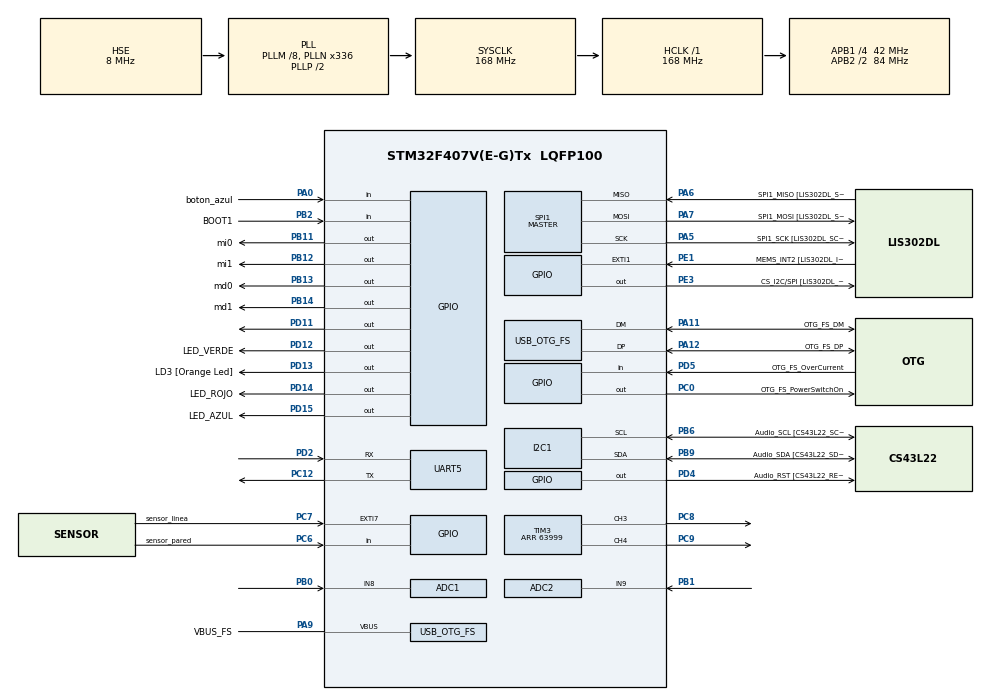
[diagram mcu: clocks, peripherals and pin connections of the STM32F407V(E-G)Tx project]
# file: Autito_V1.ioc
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ADC1.Channel-1\#ChannelRegularConversion=ADC_CHANNEL_8
ADC1.ClockPrescaler=ADC_CLOCK_SYNC_PCLK_DIV8
ADC1.ContinuousConvMode=ENABLE
ADC1.DMAContinuousRequests=ENABLE
ADC1.EOCSelection=ADC_EOC_SEQ_CONV
ADC1.NbrOfConversionFlag=1
ADC1.Rank-1\#ChannelRegularConversion=1
ADC1.SamplingTime-1\#ChannelRegularConversion=ADC_SAMPLETIME_56CYCLES
ADC1.ScanConvMode=ENABLE
ADC1.master=1
ADC2.Channel-1\#ChannelRegularConversion=ADC_CHANNEL_9
ADC2.ClockPrescaler=ADC_CLOCK_SYNC_PCLK_DIV8
ADC2.ContinuousConvMode=ENABLE
ADC2.DMAContinuousRequests=ENABLE
ADC2.EOCSelection=ADC_EOC_SEQ_CONV
ADC2.NbrOfConversionFlag=1
ADC2.Rank-1\#ChannelRegularConversion=1
ADC2.SamplingTime-1\#ChannelRegularConversion=ADC_SAMPLETIME_56CYCLES
ADC2.ScanConvMode=ENABLE
Dma.ADC1.0.Direction=DMA_PERIPH_TO_MEMORY
Dma.ADC1.0.FIFOMode=DMA_FIFOMODE_DISABLE
Dma.ADC1.0.Instance=DMA2_Stream0
Dma.ADC1.0.MemDataAlignment=DMA_MDATAALIGN_HALFWORD
Dma.ADC1.0.MemInc=DMA_MINC_ENABLE
Dma.ADC1.0.Mode=DMA_CIRCULAR
Dma.ADC1.0.PeriphDataAlignment=DMA_PDATAALIGN_HALFWORD
Dma.ADC1.0.PeriphInc=DMA_PINC_DISABLE
Dma.ADC1.0.Priority=DMA_PRIORITY_LOW
Dma.ADC2.1.Direction=DMA_PERIPH_TO_MEMORY
Dma.ADC2.1.FIFOMode=DMA_FIFOMODE_DISABLE
Dma.ADC2.1.Instance=DMA2_Stream2
Dma.ADC2.1.MemDataAlignment=DMA_MDATAALIGN_HALFWORD
Dma.ADC2.1.MemInc=DMA_MINC_ENABLE
Dma.ADC2.1.Mode=DMA_CIRCULAR
Dma.ADC2.1.PeriphDataAlignment=DMA_PDATAALIGN_HALFWORD
Dma.ADC2.1.PeriphInc=DMA_PINC_DISABLE
Dma.ADC2.1.Priority=DMA_PRIORITY_LOW
Dma.Request0=ADC1
Dma.Request1=ADC2
Mcu.Family=STM32F4
Mcu.Name=STM32F407V(E-G)Tx
Mcu.Package=LQFP100
NVIC.DMA2_Stream0_IRQn=true\:0\:0\:false\:false\:true\:false\:true\:true
NVIC.DMA2_Stream2_IRQn=true\:0\:0\:false\:false\:true\:false\:true\:true
NVIC.EXTI9_5_IRQn=true\:0\:0\:false\:false\:true\:true\:true\:true
NVIC.OTG_FS_IRQn=true\:0\:0\:false\:false\:true\:true\:true\:true
NVIC.PriorityGroup=NVIC_PRIORITYGROUP_0
NVIC.UART5_IRQn=true\:0\:0\:false\:false\:true\:true\:true\:true
PA0-WKUP.GPIO_Label=boton_azul
PA0-WKUP.Signal=GPIO_Input
PA10.GPIO_Label=OTG_FS_ID
PA10.GPIO_Mode=GPIO_MODE_AF_PP
PA10.GPIO_PuPd=GPIO_NOPULL
PA10.GPIO_Speed=GPIO_SPEED_FREQ_LOW
PA10.Signal=USB_OTG_FS_ID
PA11.GPIO_Label=OTG_FS_DM
PA11.GPIO_Mode=GPIO_MODE_AF_PP
PA11.GPIO_PuPd=GPIO_NOPULL
PA11.GPIO_Speed=GPIO_SPEED_FREQ_LOW
PA11.Mode=Host_Only
PA11.Signal=USB_OTG_FS_DM
PA12.GPIO_Label=OTG_FS_DP
PA12.GPIO_Mode=GPIO_MODE_AF_PP
PA12.GPIO_PuPd=GPIO_NOPULL
PA12.GPIO_Speed=GPIO_SPEED_FREQ_LOW
PA12.Mode=Host_Only
PA12.Signal=USB_OTG_FS_DP
PA13.GPIO_Label=SWDIO
PA13.Mode=Serial_Wire
PA13.Signal=SYS_JTMS-SWDIO
PA14.GPIO_Label=SWCLK
PA14.Mode=Serial_Wire
PA14.Signal=SYS_JTCK-SWCLK
PA4.GPIO_Label=I2S3_WS [CS43L22_LRCK]
PA4.GPIO_Mode=GPIO_MODE_AF_PP
PA4.GPIO_PuPd=GPIO_NOPULL
PA4.GPIO_Speed=GPIO_SPEED_FREQ_LOW
PA4.Signal=I2S3_WS
PA5.GPIO_Label=SPI1_SCK [LIS302DL_SCL/SPC]
PA5.GPIO_Mode=GPIO_MODE_AF_PP
PA5.GPIO_PuPd=GPIO_NOPULL
PA5.GPIO_Speed=GPIO_SPEED_FREQ_LOW
PA5.Mode=Full_Duplex_Master
PA5.Signal=SPI1_SCK
PA6.GPIO_Label=SPI1_MISO [LIS302DL_SDO]
PA6.GPIO_Mode=GPIO_MODE_AF_PP
PA6.GPIO_PuPd=GPIO_NOPULL
PA6.GPIO_Speed=GPIO_SPEED_FREQ_LOW
PA6.Mode=Full_Duplex_Master
PA6.Signal=SPI1_MISO
PA7.GPIO_Label=SPI1_MOSI [LIS302DL_SDA/SDI/SDO]
PA7.GPIO_Mode=GPIO_MODE_AF_PP
PA7.GPIO_PuPd=GPIO_NOPULL
PA7.GPIO_Speed=GPIO_SPEED_FREQ_LOW
PA7.Mode=Full_Duplex_Master
PA7.Signal=SPI1_MOSI
PA9.GPIO_Label=VBUS_FS
PA9.GPIO_Mode=GPIO_MODE_INPUT
PA9.GPIO_PuPd=GPIO_NOPULL
PA9.Mode=Activate_VBUS
PA9.Signal=USB_OTG_FS_VBUS
PB0.Signal=ADCx_IN8
PB1.Signal=ADCx_IN9
PB10.GPIO_Label=CLK_IN [MP45DT02_CLK]
PB10.GPIO_Mode=GPIO_MODE_AF_PP
PB10.GPIO_PuPd=GPIO_NOPULL
PB10.GPIO_Speed=GPIO_SPEED_FREQ_LOW
PB10.Signal=I2S2_CK
PB11.GPIO_Label=mi0
PB11.Signal=GPIO_Output
PB12.GPIO_Label=mi1
PB12.Signal=GPIO_Output
PB13.GPIO_Label=md0
PB13.Signal=GPIO_Output
PB14.GPIO_Label=md1
PB14.Signal=GPIO_Output
PB2.GPIO_Label=BOOT1
PB2.GPIO_Mode=GPIO_MODE_INPUT
PB2.GPIO_PuPd=GPIO_NOPULL
PB2.Signal=GPIO_Input
PB3.GPIO_Label=SWO
PB3.Signal=SYS_JTDO-SWO
PB6.GPIO_Label=Audio_SCL [CS43L22_SCL]
PB6.GPIO_Mode=GPIO_MODE_AF_OD
PB6.GPIO_Pu=GPIO_PULLUP
PB6.GPIO_PuPd=GPIO_NOPULL
PB6.GPIO_Speed=GPIO_SPEED_FREQ_LOW
PB6.Mode=I2C
PB6.Signal=I2C1_SCL
PB9.GPIO_Label=Audio_SDA [CS43L22_SDA]
PB9.GPIO_Mode=GPIO_MODE_AF_OD
PB9.GPIO_Pu=GPIO_PULLUP
PB9.GPIO_PuPd=GPIO_NOPULL
PB9.GPIO_Speed=GPIO_SPEED_FREQ_LOW
PB9.Mode=I2C
PB9.Signal=I2C1_SDA
PC0.GPIO_Label=OTG_FS_PowerSwitchOn
PC0.GPIO_PuPd=GPIO_NOPULL
PC0.GPIO_Speed=GPIO_SPEED_FREQ_LOW
PC0.PinState=GPIO_PIN_SET
PC0.Signal=GPIO_Output
PC10.GPIO_Label=I2S3_SCK [CS43L22_SCLK]
PC10.GPIO_Mode=GPIO_MODE_AF_PP
PC10.GPIO_PuPd=GPIO_NOPULL
PC10.GPIO_Speed=GPIO_SPEED_FREQ_LOW
PC10.Signal=I2S3_CK
PC12.Mode=Asynchronous
PC12.Signal=UART5_TX
PC14-OSC32_IN.GPIO_Label=PC14-OSC32_IN
PC14-OSC32_IN.Mode=LSE-External-Oscillator
PC14-OSC32_IN.Signal=RCC_OSC32_IN
PC15-OSC32_OUT.GPIO_Label=PC15-OSC32_OUT
PC15-OSC32_OUT.Mode=LSE-External-Oscillator
PC15-OSC32_OUT.Signal=RCC_OSC32_OUT
PC3.GPIO_Label=PDM_OUT [MP45DT02_DOUT]
PC3.GPIO_Mode=GPIO_MODE_AF_PP
PC3.GPIO_PuPd=GPIO_NOPULL
PC3.GPIO_Speed=GPIO_SPEED_FREQ_LOW
PC3.Signal=I2S2_SD
PC6.GPIO_Label=sensor_pared
PC6.Signal=GPIO_Input
PC7.GPIO_Label=sensor_linea
PC7.GPIO_ModeDefaultEXTI=GPIO_MODE_IT_FALLING
PC7.Signal=GPXTI7
PC8.Signal=S_TIM3_CH3
PC9.Signal=S_TIM3_CH4
PD11.Signal=GPIO_Output
PD12.GPIO_Label=LED_VERDE
PD12.GPIO_PuPd=GPIO_NOPULL
PD12.GPIO_Speed=GPIO_SPEED_FREQ_LOW
PD12.Signal=GPIO_Output
PD13.GPIO_Label=LD3 [Orange Led]
PD13.GPIO_PuPd=GPIO_NOPULL
PD13.GPIO_Speed=GPIO_SPEED_FREQ_LOW
PD13.Signal=GPIO_Output
PD14.GPIO_Label=LED_ROJO
PD14.GPIO_PuPd=GPIO_NOPULL
PD14.GPIO_Speed=GPIO_SPEED_FREQ_LOW
PD14.Signal=GPIO_Output
PD15.GPIO_Label=LED_AZUL
PD15.GPIO_PuPd=GPIO_NOPULL
PD15.GPIO_Speed=GPIO_SPEED_FREQ_LOW
PD15.Signal=GPIO_Output
PD2.Mode=Asynchronous
PD2.Signal=UART5_RX
PD4.GPIO_Label=Audio_RST [CS43L22_RESET]
PD4.GPIO_PuPd=GPIO_NOPULL
PD4.GPIO_Speed=GPIO_SPEED_FREQ_LOW
PD4.Signal=GPIO_Output
PD5.GPIO_Label=OTG_FS_OverCurrent
PD5.GPIO_Mode=GPIO_MODE_INPUT
PD5.GPIO_PuPd=GPIO_NOPULL
PD5.Signal=GPIO_Input
PE1.GPIO_Label=MEMS_INT2 [LIS302DL_INT2]
PE1.GPIO_ModeDefaultEXTI=GPIO_MODE_EVT_RISING
PE1.GPIO_PuPd=GPIO_NOPULL
PE1.Signal=GPXTI1
PE3.GPIO_Label=CS_I2C/SPI [LIS302DL_CS_I2C/SPI]
PE3.GPIO_PuPd=GPIO_NOPULL
PE3.GPIO_Speed=GPIO_SPEED_FREQ_LOW
PE3.Signal=GPIO_Output
PH0-OSC_IN.GPIO_Label=PH0-OSC_IN
PH0-OSC_IN.Mode=HSE-External-Oscillator
PH0-OSC_IN.Signal=RCC_OSC_IN
PH1-OSC_OUT.GPIO_Label=PH1-OSC_OUT
PH1-OSC_OUT.Mode=HSE-External-Oscillator
PH1-OSC_OUT.Signal=RCC_OSC_OUT
ProjectManager.HeapSize=0x200
ProjectManager.StackSize=0x400
ProjectManager.TargetToolchain=STM32CubeIDE
RCC.48MHZClocksFreq_Value=48000000
RCC.AHBFreq_Value=168000000
RCC.APB1CLKDivider=RCC_HCLK_DIV4
RCC.APB1Freq_Value=42000000
RCC.APB1TimFreq_Value=84000000
RCC.APB2CLKDivider=RCC_HCLK_DIV2
RCC.APB2Freq_Value=84000000
RCC.APB2TimFreq_Value=168000000
RCC.CortexFreq_Value=168000000
RCC.HCLKFreq_Value=168000000
RCC.HSE_VALUE=8000000
RCC.HSI_VALUE=16000000
RCC.PLLM=8
RCC.PLLN=336
RCC.PLLQ=7
RCC.SYSCLKFreq_VALUE=168000000
RCC.SYSCLKSource=RCC_SYSCLKSOURCE_PLLCLK
RCC.VCOOutputFreq_Value=336000000
SH.ADCx_IN8.0=ADC1_IN8,IN8
SH.ADCx_IN9.0=ADC2_IN9,IN9
SH.S_TIM3_CH3.0=TIM3_CH3,PWM Generation3 CH3
SH.S_TIM3_CH4.0=TIM3_CH4,PWM Generation4 CH4
SPI1.BaudRatePrescaler-Full_Duplex_Master=SPI_BAUDRATEPRESCALER_2
SPI1.CalculateBaudRate-Full_Duplex_Master=42.0 MBits/s
SPI1.Direction=SPI_DIRECTION_2LINES
SPI1.Mode=SPI_MODE_MASTER
SPI1.Mode-Full_Duplex_Master=SPI_MODE_MASTER
SPI1.VirtualType=VM_MASTER
TIM14.Period=199
TIM14.Prescaler=41999
TIM3.Channel-PWM\ Generation3\ CH3=TIM_CHANNEL_3
TIM3.Channel-PWM\ Generation4\ CH4=TIM_CHANNEL_4
TIM3.Period=63999
UART5.VirtualMode=Asynchronous
USB_HOST.BSP.number=1
USB_HOST.USBH_HandleTypeDef-CDC_FS=hUsbHostFS
USB_HOST.VirtualModeFS=Cdc
USB_HOST0.BSP.STBoard=false
USB_HOST0.BSP.api=Unknown
USB_HOST0.BSP.instance=PC0
USB_HOST0.BSP.ip=GPIO
USB_HOST0.BSP.mode=Output
USB_HOST0.BSP.name=Drive_VBUS_FS
USB_HOST0.BSP.solution=PC0
USB_OTG_FS.VirtualMode=Host_Only
USB_OTG_FS.phy_itface=HCD_PHY_EMBEDDED
VP_TIM14_VS_ClockSourceINT.Mode=Enable_Timer
VP_TIM3_VS_ClockSourceINT.Mode=Internal
VP_USB_HOST_VS_USB_HOST_CDC_FS.Mode=CDC_FS
board=STM32F407G-DISC1

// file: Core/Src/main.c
/* USER CODE BEGIN Header */
/**
 ******************************************************************************
 * @file           : main.c
 * @brief          : Main program body
 ******************************************************************************
 * @attention
 *
 * Copyright (c) 2025 STMicroelectronics.
 * All rights reserved.
 *
 * This software is licensed under terms that can be found in the LICENSE file
 * in the root directory of this software component.
 * If no LICENSE file comes with this software, it is provided AS-IS.
 *
 ******************************************************************************
 */
/* USER CODE END Header */
#include "main.h"
#include "usb_host.h"

/* USER CODE BEGIN Includes */
#include <stdbool.h>
#include <string.h>
#include <stdio.h>
/* USER CODE END Includes */

/* USER CODE BEGIN PTD */
typedef enum  //
{
	izq, der, atras,
} dir_giro;

typedef enum {
	NORTE, SUR, ESTE, OESTE
} direccion_t;

typedef struct {
	int peso;
	bool pared[4]; // NORTE, ESTE, SUR, OESTE
} celda;

typedef struct {
	int x, y;
} punto_t;
/* USER CODE END PTD */

/* USER CODE BEGIN PD */

// Tiempo en ms que permanecen encendidas las luces al iniciar el sistema
#define TENCENDIDO 1000
// Tiempo en ms que permanecen apagadas las luces antes iniciar las transiciones
#define TAPAGADO 1000
// Cantidad de canales que se muestrean
#define CANALES 2
// Cantidad de muestras a promediar por canal
#define MUESTRAS 16
// Tamaño mínimo requerido de buffer
#define BUFFER_MINIMO (MUESTRAS * CANALES)
// Cantidad de buffers mínimos que se emplean
#define CANTIDAD_BUFFER_MINIMO 2
// Tamaño del buffer a imlementar
#define BUFFER_TOTAL (CANTIDAD_BUFFER_MINIMO * BUFFER_MINIMO)
#define SEL_AUTITO 1
#define N 16             // Define el tamaño del mapa (NxN)
#define INF (N+1)         // Valor asignado como peso "inf"
#define delay 50
/* USER CODE END PD */

ADC_HandleTypeDef hadc1;
ADC_HandleTypeDef hadc2;
DMA_HandleTypeDef hdma_adc1;
DMA_HandleTypeDef hdma_adc2;

I2C_HandleTypeDef hi2c1;

SPI_HandleTypeDef hspi1;

TIM_HandleTypeDef htim3;
TIM_HandleTypeDef htim14;

UART_HandleTypeDef huart5;

/* USER CODE BEGIN PV */
// Buffer para almacenar las muestras
uint16_t dma_buffer1[BUFFER_TOTAL];
uint16_t dma_buffer2[BUFFER_TOTAL];
// Valor promedio de las muestras del sensor derecho
volatile uint16_t sensor_der_avg;
// Valor promedio de las muestras del sensor izquierdo
volatile uint16_t sensor_izq_avg;
volatile int linea;           // flag de linea
volatile int boton;
volatile int pared;			  // flag de pared
volatile int ENTRE_INT;
volatile int pos;			  //de 0 a 15
volatile int orientacion;			  //norte=0, este=1, sur=2, oeste=3
volatile int paredcita;
dir_giro giro;
dir_giro direccion_de_giro;
GPIO_PinState estado;
celda mapa[N];
int dir_min;
int cont_posible_linea;
// Umbral de comparación para el centrado
volatile uint16_t UMBRAL_DERECHO;  //1850
volatile uint16_t UMBRAL_IZQUIERDO;  //290
char mensaje[16]; //Variable mensaje (contiene los datos a enviar)
//const uint8_t delay = 50; //Retardo a utilizar durante la transmisión

volatile uint16_t contpared;
volatile uint16_t contlinea;
volatile int paredprueba;			  // flag de flag de pared
/* USER CODE END PV */

void SystemClock_Config(void);
static void MX_GPIO_Init(void);
static void MX_DMA_Init(void);
static void MX_I2C1_Init(void);
static void MX_SPI1_Init(void);
static void MX_ADC1_Init(void);
static void MX_ADC2_Init(void);
static void MX_TIM14_Init(void);
static void MX_TIM3_Init(void);
static void MX_UART5_Init(void);
void MX_USB_HOST_Process(void);

/* USER CODE BEGIN PFP */
void Promediar1(uint16_t *buffer); // Calcula el promedio de las muestras
void Promediar2(uint16_t *buffer);
void EncenderLed(int numero);
void ApagarLed(int numero);
void EncenderTodos(void);
void ApagarTodos(void);
void Inicio(void);
void Inicio_Motores(void);
uint16_t Girar(dir_giro giro);
void setVelocidadIzquierda(int duty);
void setVelocidadDerecha(int duty);
bool antirebote(void);
void Avanzar(void);
void Frenar(void);
void Retroceder(void);
void GirarIzq(void);
void GirarDer(void);
void Bailar(void);
void InicializarMapa(celda *mapa);
void posicion(void);
void calcular_orientacion(dir_giro girohecho);
void detectorParedes(celda *mapa);
void ActualizarPesos(celda *mapa);
void ActualizarPesos10(celda *mapa);
int DirMin(celda *mapa);
void Centrado(void);
dir_giro PrioridadDeGiro(int dir_min1);
void Calibrar_Sensores(void);

//mayonesa
/* USER CODE END PFP */

/* USER CODE BEGIN 0 */
//void Transmision() { //Envia un mensaje a través de la UART volado
//strcat(mensaje, "\r\n"); //Agrega instrucciones de retorno de carro y avance de línea al mensaje
//HAL_UART_Transmit(&huart5, (uint8_t*) mensaje, strlen(mensaje), delay); //Transmisión del mensaje

//}
/* USER CODE END 0 */

int main(void)
{

  /* MCU Configuration--------------------------------------------------------*/

  /* Reset of all peripherals, Initializes the Flash interface and the Systick. */
  HAL_Init();

  /* Configure the system clock */
  SystemClock_Config();

  /* Initialize all configured peripherals */
  MX_GPIO_Init();
  MX_DMA_Init();
  MX_I2C1_Init();
  MX_SPI1_Init();
  MX_USB_HOST_Init();
  MX_ADC1_Init();
  MX_ADC2_Init();
  MX_TIM14_Init();
  MX_TIM3_Init();
  MX_UART5_Init();
  /* USER CODE BEGIN 2 */

	Inicio(); // Probamos los LED e Inicializamos
	Inicio_Motores();
	// Iniciar PWM en canales 3 y 4 de TIM3

  /* USER CODE END 2 */

  /* Infinite loop */
	while (1) {
    MX_USB_HOST_Process();

    /* USER CODE BEGIN 3 */

/*
    while(pos==15){
		Bailar();
	}
*/

    while (pos==0){
    				Frenar();
    			}

// CONTROL FINAL -------------------------------------

    		if (linea == 1) {

			cont_posible_linea++;

			if (antirebote()) {
				contlinea++;
				posicion();
				dir_min = DirMin(mapa);
				linea = 0;
				Avanzar();
				HAL_Delay(100);

			}
			else
				linea = 0;
		}

    		// reviso si hay pared

//		if (HAL_GPIO_ReadPin(GPIOD, GPIO_PIN_6)==GPIO_PIN_RESET) {
//			contpared++;
//			detectorParedes(mapa);                              //mayonesa
//			ActualizarPesos10(mapa);
//			dir_min = DirMin(mapa);
//		}

		if (orientacion == dir_min)
			Centrado();
		else {
			direccion_de_giro = PrioridadDeGiro(dir_min);
			Girar(direccion_de_giro);
			calcular_orientacion(direccion_de_giro);
			Frenar();
			HAL_Delay(200);
//			Retroceder();
//			HAL_Delay(200);
//			Avanzar();
//			pared=HAL_GPIO_ReadPin(GPIOA, GPIO_PIN_6);
			}
		}

  /* USER CODE END 3 */
}

void SystemClock_Config(void)
{
  RCC_OscInitTypeDef RCC_OscInitStruct = {0};
  RCC_ClkInitTypeDef RCC_ClkInitStruct = {0};

  /** Configure the main internal regulator output voltage
  */
  __HAL_RCC_PWR_CLK_ENABLE();
  __HAL_PWR_VOLTAGESCALING_CONFIG(PWR_REGULATOR_VOLTAGE_SCALE1);

  /** Initializes the RCC Oscillators according to the specified parameters
  * in the RCC_OscInitTypeDef structure.
  */
  RCC_OscInitStruct.OscillatorType = RCC_OSCILLATORTYPE_HSE;
  RCC_OscInitStruct.HSEState = RCC_HSE_ON;
  RCC_OscInitStruct.PLL.PLLState = RCC_PLL_ON;
  RCC_OscInitStruct.PLL.PLLSource = RCC_PLLSOURCE_HSE;
  RCC_OscInitStruct.PLL.PLLM = 8;
  RCC_OscInitStruct.PLL.PLLN = 336;
  RCC_OscInitStruct.PLL.PLLP = RCC_PLLP_DIV2;
  RCC_OscInitStruct.PLL.PLLQ = 7;
  if (HAL_RCC_OscConfig(&RCC_OscInitStruct) != HAL_OK)
  {
    Error_Handler();
  }

  /** Initializes the CPU, AHB and APB buses clocks
  */
  RCC_ClkInitStruct.ClockType = RCC_CLOCKTYPE_HCLK|RCC_CLOCKTYPE_SYSCLK
                              |RCC_CLOCKTYPE_PCLK1|RCC_CLOCKTYPE_PCLK2;
  RCC_ClkInitStruct.SYSCLKSource = RCC_SYSCLKSOURCE_PLLCLK;
  RCC_ClkInitStruct.AHBCLKDivider = RCC_SYSCLK_DIV1;
  RCC_ClkInitStruct.APB1CLKDivider = RCC_HCLK_DIV4;
  RCC_ClkInitStruct.APB2CLKDivider = RCC_HCLK_DIV2;

  if (HAL_RCC_ClockConfig(&RCC_ClkInitStruct, FLASH_LATENCY_5) != HAL_OK)
  {
    Error_Handler();
  }
}

static void MX_ADC1_Init(void)
{

  ADC_ChannelConfTypeDef sConfig = {0};

  /** Configure the global features of the ADC (Clock, Resolution, Data Alignment and number of conversion)
  */
  hadc1.Instance = ADC1;
  hadc1.Init.ClockPrescaler = ADC_CLOCK_SYNC_PCLK_DIV8;
  hadc1.Init.Resolution = ADC_RESOLUTION_12B;
  hadc1.Init.ScanConvMode = ENABLE;
  hadc1.Init.ContinuousConvMode = ENABLE;
  hadc1.Init.DiscontinuousConvMode = DISABLE;
  hadc1.Init.ExternalTrigConvEdge = ADC_EXTERNALTRIGCONVEDGE_NONE;
  hadc1.Init.ExternalTrigConv = ADC_SOFTWARE_START;
  hadc1.Init.DataAlign = ADC_DATAALIGN_RIGHT;
  hadc1.Init.NbrOfConversion = 1;
  hadc1.Init.DMAContinuousRequests = ENABLE;
  hadc1.Init.EOCSelection = ADC_EOC_SEQ_CONV;
  if (HAL_ADC_Init(&hadc1) != HAL_OK)
  {
    Error_Handler();
  }

  /** Configure for the selected ADC regular channel its corresponding rank in the sequencer and its sample time.
  */
  sConfig.Channel = ADC_CHANNEL_8;
  sConfig.Rank = 1;
  sConfig.SamplingTime = ADC_SAMPLETIME_56CYCLES;
  if (HAL_ADC_ConfigChannel(&hadc1, &sConfig) != HAL_OK)
  {
    Error_Handler();
  }

}

static void MX_ADC2_Init(void)
{

  ADC_ChannelConfTypeDef sConfig = {0};

  /** Configure the global features of the ADC (Clock, Resolution, Data Alignment and number of conversion)
  */
  hadc2.Instance = ADC2;
  hadc2.Init.ClockPrescaler = ADC_CLOCK_SYNC_PCLK_DIV8;
  hadc2.Init.Resolution = ADC_RESOLUTION_12B;
  hadc2.Init.ScanConvMode = ENABLE;
  hadc2.Init.ContinuousConvMode = ENABLE;
  hadc2.Init.DiscontinuousConvMode = DISABLE;
  hadc2.Init.ExternalTrigConvEdge = ADC_EXTERNALTRIGCONVEDGE_NONE;
  hadc2.Init.ExternalTrigConv = ADC_SOFTWARE_START;
  hadc2.Init.DataAlign = ADC_DATAALIGN_RIGHT;
  hadc2.Init.NbrOfConversion = 1;
  hadc2.Init.DMAContinuousRequests = ENABLE;
  hadc2.Init.EOCSelection = ADC_EOC_SEQ_CONV;
  if (HAL_ADC_Init(&hadc2) != HAL_OK)
  {
    Error_Handler();
  }

  /** Configure for the selected ADC regular channel its corresponding rank in the sequencer and its sample time.
  */
  sConfig.Channel = ADC_CHANNEL_9;
  sConfig.Rank = 1;
  sConfig.SamplingTime = ADC_SAMPLETIME_56CYCLES;
  if (HAL_ADC_ConfigChannel(&hadc2, &sConfig) != HAL_OK)
  {
    Error_Handler();
  }

}

static void MX_I2C1_Init(void)
{

  hi2c1.Instance = I2C1;
  hi2c1.Init.ClockSpeed = 100000;
  hi2c1.Init.DutyCycle = I2C_DUTYCYCLE_2;
  hi2c1.Init.OwnAddress1 = 0;
  hi2c1.Init.AddressingMode = I2C_ADDRESSINGMODE_7BIT;
  hi2c1.Init.DualAddressMode = I2C_DUALADDRESS_DISABLE;
  hi2c1.Init.OwnAddress2 = 0;
  hi2c1.Init.GeneralCallMode = I2C_GENERALCALL_DISABLE;
  hi2c1.Init.NoStretchMode = I2C_NOSTRETCH_DISABLE;
  if (HAL_I2C_Init(&hi2c1) != HAL_OK)
  {
    Error_Handler();
  }

}

static void MX_SPI1_Init(void)
{

  /* SPI1 parameter configuration*/
  hspi1.Instance = SPI1;
  hspi1.Init.Mode = SPI_MODE_MASTER;
  hspi1.Init.Direction = SPI_DIRECTION_2LINES;
  hspi1.Init.DataSize = SPI_DATASIZE_8BIT;
  hspi1.Init.CLKPolarity = SPI_POLARITY_LOW;
  hspi1.Init.CLKPhase = SPI_PHASE_1EDGE;
  hspi1.Init.NSS = SPI_NSS_SOFT;
  hspi1.Init.BaudRatePrescaler = SPI_BAUDRATEPRESCALER_2;
  hspi1.Init.FirstBit = SPI_FIRSTBIT_MSB;
  hspi1.Init.TIMode = SPI_TIMODE_DISABLE;
  hspi1.Init.CRCCalculation = SPI_CRCCALCULATION_DISABLE;
  hspi1.Init.CRCPolynomial = 10;
  if (HAL_SPI_Init(&hspi1) != HAL_OK)
  {
    Error_Handler();
  }

}

static void MX_TIM3_Init(void)
{

  TIM_ClockConfigTypeDef sClockSourceConfig = {0};
  TIM_MasterConfigTypeDef sMasterConfig = {0};
  TIM_OC_InitTypeDef sConfigOC = {0};

  htim3.Instance = TIM3;
  htim3.Init.Prescaler = 0;
  htim3.Init.CounterMode = TIM_COUNTERMODE_UP;
  htim3.Init.Period = 63999;
  htim3.Init.ClockDivision = TIM_CLOCKDIVISION_DIV1;
  htim3.Init.AutoReloadPreload = TIM_AUTORELOAD_PRELOAD_DISABLE;
  if (HAL_TIM_Base_Init(&htim3) != HAL_OK)
  {
    Error_Handler();
  }
  sClockSourceConfig.ClockSource = TIM_CLOCKSOURCE_INTERNAL;
  if (HAL_TIM_ConfigClockSource(&htim3, &sClockSourceConfig) != HAL_OK)
  {
    Error_Handler();
  }
  if (HAL_TIM_PWM_Init(&htim3) != HAL_OK)
  {
    Error_Handler();
  }
  sMasterConfig.MasterOutputTrigger = TIM_TRGO_RESET;
  sMasterConfig.MasterSlaveMode = TIM_MASTERSLAVEMODE_DISABLE;
  if (HAL_TIMEx_MasterConfigSynchronization(&htim3, &sMasterConfig) != HAL_OK)
  {
    Error_Handler();
  }
  sConfigOC.OCMode = TIM_OCMODE_PWM1;
  sConfigOC.Pulse = 0;
  sConfigOC.OCPolarity = TIM_OCPOLARITY_HIGH;
  sConfigOC.OCFastMode = TIM_OCFAST_DISABLE;
  if (HAL_TIM_PWM_ConfigChannel(&htim3, &sConfigOC, TIM_CHANNEL_3) != HAL_OK)
  {
    Error_Handler();
  }
  if (HAL_TIM_PWM_ConfigChannel(&htim3, &sConfigOC, TIM_CHANNEL_4) != HAL_OK)
  {
    Error_Handler();
  }
  HAL_TIM_MspPostInit(&htim3);

}

static void MX_TIM14_Init(void)
{

  htim14.Instance = TIM14;
  htim14.Init.Prescaler = 41999;
  htim14.Init.CounterMode = TIM_COUNTERMODE_UP;
  htim14.Init.Period = 199;
  htim14.Init.ClockDivision = TIM_CLOCKDIVISION_DIV1;
  htim14.Init.AutoReloadPreload = TIM_AUTORELOAD_PRELOAD_DISABLE;
  if (HAL_TIM_Base_Init(&htim14) != HAL_OK)
  {
    Error_Handler();
  }

}

static void MX_UART5_Init(void)
{

  huart5.Instance = UART5;
  huart5.Init.BaudRate = 115200;
  huart5.Init.WordLength = UART_WORDLENGTH_8B;
  huart5.Init.StopBits = UART_STOPBITS_1;
  huart5.Init.Parity = UART_PARITY_NONE;
  huart5.Init.Mode = UART_MODE_TX_RX;
  huart5.Init.HwFlowCtl = UART_HWCONTROL_NONE;
  huart5.Init.OverSampling = UART_OVERSAMPLING_16;
  if (HAL_UART_Init(&huart5) != HAL_OK)
  {
    Error_Handler();
  }

}

static void MX_DMA_Init(void)
{

  /* DMA controller clock enable */
  __HAL_RCC_DMA2_CLK_ENABLE();

  /* DMA interrupt init */
  /* DMA2_Stream0_IRQn interrupt configuration */
  HAL_NVIC_SetPriority(DMA2_Stream0_IRQn, 0, 0);
  HAL_NVIC_EnableIRQ(DMA2_Stream0_IRQn);
  /* DMA2_Stream2_IRQn interrupt configuration */
  HAL_NVIC_SetPriority(DMA2_Stream2_IRQn, 0, 0);
  HAL_NVIC_EnableIRQ(DMA2_Stream2_IRQn);

}

static void MX_GPIO_Init(void)
{
  GPIO_InitTypeDef GPIO_InitStruct = {0};

  /* GPIO Ports Clock Enable */
  __HAL_RCC_GPIOE_CLK_ENABLE();
  __HAL_RCC_GPIOC_CLK_ENABLE();
  __HAL_RCC_GPIOH_CLK_ENABLE();
  __HAL_RCC_GPIOA_CLK_ENABLE();
  __HAL_RCC_GPIOB_CLK_ENABLE();
  __HAL_RCC_GPIOD_CLK_ENABLE();

  /*Configure GPIO pin Output Level */
  HAL_GPIO_WritePin(CS_I2C_SPI_GPIO_Port, CS_I2C_SPI_Pin, GPIO_PIN_RESET);

  /*Configure GPIO pin Output Level */
  HAL_GPIO_WritePin(OTG_FS_PowerSwitchOn_GPIO_Port, OTG_FS_PowerSwitchOn_Pin, GPIO_PIN_SET);

  /*Configure GPIO pin Output Level */
  HAL_GPIO_WritePin(GPIOB, mi0_Pin|mi1_Pin|md0_Pin|md1_Pin, GPIO_PIN_RESET);

  /*Configure GPIO pin Output Level */
  HAL_GPIO_WritePin(GPIOD, GPIO_PIN_11|LED_VERDE_Pin|LD3_Pin|LED_ROJO_Pin
                          |LED_AZUL_Pin|Audio_RST_Pin, GPIO_PIN_RESET);

  /*Configure GPIO pin : CS_I2C_SPI_Pin */
  GPIO_InitStruct.Pin = CS_I2C_SPI_Pin;
  GPIO_InitStruct.Mode = GPIO_MODE_OUTPUT_PP;
  GPIO_InitStruct.Pull = GPIO_NOPULL;
  GPIO_InitStruct.Speed = GPIO_SPEED_FREQ_LOW;
  HAL_GPIO_Init(CS_I2C_SPI_GPIO_Port, &GPIO_InitStruct);

  /*Configure GPIO pin : OTG_FS_PowerSwitchOn_Pin */
  GPIO_InitStruct.Pin = OTG_FS_PowerSwitchOn_Pin;
  GPIO_InitStruct.Mode = GPIO_MODE_OUTPUT_PP;
  GPIO_InitStruct.Pull = GPIO_NOPULL;
  GPIO_InitStruct.Speed = GPIO_SPEED_FREQ_LOW;
  HAL_GPIO_Init(OTG_FS_PowerSwitchOn_GPIO_Port, &GPIO_InitStruct);

  /*Configure GPIO pin : PDM_OUT_Pin */
  GPIO_InitStruct.Pin = PDM_OUT_Pin;
  GPIO_InitStruct.Mode = GPIO_MODE_AF_PP;
  GPIO_InitStruct.Pull = GPIO_NOPULL;
  GPIO_InitStruct.Speed = GPIO_SPEED_FREQ_LOW;
  GPIO_InitStruct.Alternate = GPIO_AF5_SPI2;
  HAL_GPIO_Init(PDM_OUT_GPIO_Port, &GPIO_InitStruct);

  /*Configure GPIO pin : boton_azul_Pin */
  GPIO_InitStruct.Pin = boton_azul_Pin;
  GPIO_InitStruct.Mode = GPIO_MODE_INPUT;
  GPIO_InitStruct.Pull = GPIO_NOPULL;
  HAL_GPIO_Init(boton_azul_GPIO_Port, &GPIO_InitStruct);

  /*Configure GPIO pin : I2S3_WS_Pin */
  GPIO_InitStruct.Pin = I2S3_WS_Pin;
  GPIO_InitStruct.Mode = GPIO_MODE_AF_PP;
  GPIO_InitStruct.Pull = GPIO_NOPULL;
  GPIO_InitStruct.Speed = GPIO_SPEED_FREQ_LOW;
  GPIO_InitStruct.Alternate = GPIO_AF6_SPI3;
  HAL_GPIO_Init(I2S3_WS_GPIO_Port, &GPIO_InitStruct);

  /*Configure GPIO pin : BOOT1_Pin */
  GPIO_InitStruct.Pin = BOOT1_Pin;
  GPIO_InitStruct.Mode = GPIO_MODE_INPUT;
  GPIO_InitStruct.Pull = GPIO_NOPULL;
  HAL_GPIO_Init(BOOT1_GPIO_Port, &GPIO_InitStruct);

  /*Configure GPIO pin : CLK_IN_Pin */
  GPIO_InitStruct.Pin = CLK_IN_Pin;
  GPIO_InitStruct.Mode = GPIO_MODE_AF_PP;
  GPIO_InitStruct.Pull = GPIO_NOPULL;
  GPIO_InitStruct.Speed = GPIO_SPEED_FREQ_LOW;
  GPIO_InitStruct.Alternate = GPIO_AF5_SPI2;
  HAL_GPIO_Init(CLK_IN_GPIO_Port, &GPIO_InitStruct);

  /*Configure GPIO pins : mi0_Pin mi1_Pin md0_Pin md1_Pin */
  GPIO_InitStruct.Pin = mi0_Pin|mi1_Pin|md0_Pin|md1_Pin;
  GPIO_InitStruct.Mode = GPIO_MODE_OUTPUT_PP;
  GPIO_InitStruct.Pull = GPIO_NOPULL;
  GPIO_InitStruct.Speed = GPIO_SPEED_FREQ_LOW;
  HAL_GPIO_Init(GPIOB, &GPIO_InitStruct);

  /*Configure GPIO pins : PD11 LED_VERDE_Pin LD3_Pin LED_ROJO_Pin
                           LED_AZUL_Pin Audio_RST_Pin */
  GPIO_InitStruct.Pin = GPIO_PIN_11|LED_VERDE_Pin|LD3_Pin|LED_ROJO_Pin
                          |LED_AZUL_Pin|Audio_RST_Pin;
  GPIO_InitStruct.Mode = GPIO_MODE_OUTPUT_PP;
  GPIO_InitStruct.Pull = GPIO_NOPULL;
  GPIO_InitStruct.Speed = GPIO_SPEED_FREQ_LOW;
  HAL_GPIO_Init(GPIOD, &GPIO_InitStruct);

  /*Configure GPIO pin : sensor_pared_Pin */
  GPIO_InitStruct.Pin = sensor_pared_Pin;
  GPIO_InitStruct.Mode = GPIO_MODE_INPUT;
  GPIO_InitStruct.Pull = GPIO_NOPULL;
  HAL_GPIO_Init(sensor_pared_GPIO_Port, &GPIO_InitStruct);

  /*Configure GPIO pin : sensor_linea_Pin */
  GPIO_InitStruct.Pin = sensor_linea_Pin;
  GPIO_InitStruct.Mode = GPIO_MODE_IT_FALLING;
  GPIO_InitStruct.Pull = GPIO_NOPULL;
  HAL_GPIO_Init(sensor_linea_GPIO_Port, &GPIO_InitStruct);

  /*Configure GPIO pin : I2S3_SCK_Pin */
  GPIO_InitStruct.Pin = I2S3_SCK_Pin;
  GPIO_InitStruct.Mode = GPIO_MODE_AF_PP;
  GPIO_InitStruct.Pull = GPIO_NOPULL;
  GPIO_InitStruct.Speed = GPIO_SPEED_FREQ_LOW;
  GPIO_InitStruct.Alternate = GPIO_AF6_SPI3;
  HAL_GPIO_Init(I2S3_SCK_GPIO_Port, &GPIO_InitStruct);

  /*Configure GPIO pin : OTG_FS_OverCurrent_Pin */
  GPIO_InitStruct.Pin = OTG_FS_OverCurrent_Pin;
  GPIO_InitStruct.Mode = GPIO_MODE_INPUT;
  GPIO_InitStruct.Pull = GPIO_NOPULL;
  HAL_GPIO_Init(OTG_FS_OverCurrent_GPIO_Port, &GPIO_InitStruct);

  /*Configure GPIO pin : MEMS_INT2_Pin */
  GPIO_InitStruct.Pin = MEMS_INT2_Pin;
  GPIO_InitStruct.Mode = GPIO_MODE_EVT_RISING;
  GPIO_InitStruct.Pull = GPIO_NOPULL;
  HAL_GPIO_Init(MEMS_INT2_GPIO_Port, &GPIO_InitStruct);

  /* EXTI interrupt init*/
  HAL_NVIC_SetPriority(EXTI9_5_IRQn, 0, 0);
  HAL_NVIC_EnableIRQ(EXTI9_5_IRQn);

}

/* USER CODE BEGIN 4 */

void Inicio(void) {
// Encendemos todos los LED y esperamos un tiempo
	EncenderTodos();
	HAL_Delay(TENCENDIDO);
// Apagamos todos los LED y esperamos un tiempo
	ApagarTodos();
	HAL_Delay(TAPAGADO);
// Iniciamos las conversiones
	HAL_ADC_Start_DMA(&hadc1, (uint32_t*) dma_buffer1, BUFFER_TOTAL);
	HAL_ADC_Start_DMA(&hadc2, (uint32_t*) dma_buffer2, BUFFER_TOTAL);
// Setea los PWM
	HAL_TIM_PWM_Start(&htim3, TIM_CHANNEL_3); // PC8 - Velocidad izquierda
	HAL_TIM_PWM_Start(&htim3, TIM_CHANNEL_4); // PC9 - Velocidad derecha
	setVelocidadIzquierda(75);  // 75% al motor izquierdo
	setVelocidadDerecha(75);    // 75% al motor derecho
	InicializarMapa(mapa);     // Inicializa la matriz de pesos y paredes
	ActualizarPesos(mapa);
	linea = 0;
	pared = 0; //inicializar variables de interrupcion
	orientacion = 0;
	pos = 15;
	dir_min = 0;
	UMBRAL_DERECHO=1700;
	UMBRAL_IZQUIERDO=3700;
	Calibrar_Sensores();
	while(HAL_GPIO_ReadPin(GPIOA, GPIO_PIN_0) == GPIO_PIN_RESET){
		EncenderLed(1);
	HAL_Delay(100);
	ApagarLed(1);
	HAL_Delay(100);
	}
	HAL_Delay(1000);
	linea=0;
	pared=0;
	contpared = 0;
	contlinea = 0;
	paredprueba = 0;
}

void Inicio_Motores(void) {
	HAL_GPIO_WritePin(GPIOB, GPIO_PIN_11, GPIO_PIN_SET); // MI0
	HAL_GPIO_WritePin(GPIOB, GPIO_PIN_12, GPIO_PIN_RESET);   // MI1
	HAL_GPIO_WritePin(GPIOB, GPIO_PIN_13, GPIO_PIN_SET);   // MD0
	HAL_GPIO_WritePin(GPIOB, GPIO_PIN_14, GPIO_PIN_RESET); // MD1
}

void setMotorSpeed(int duty) {
	if (duty > 100)
		duty = 100;

	uint32_t arr = __HAL_TIM_GET_AUTORELOAD(&htim3) + 1;
	uint32_t pulse = (duty * arr) / 100;

	__HAL_TIM_SET_COMPARE(&htim3, TIM_CHANNEL_3, pulse); // VelI - PC8
	__HAL_TIM_SET_COMPARE(&htim3, TIM_CHANNEL_4, pulse); // VelD - PC9
}

// Sección Velocidad de ruedas PWM

//Si quiero manejar la velocidad de cada rueda por separado

/**
 * @brief Establece la velocidad del motor izquierdo (PC8 - TIM3_CH3)
 * @param duty Duty cycle (0 a 100%)
 */

void setVelocidadIzquierda(int duty) {
	if (duty > 100)
		duty = 100;

	uint32_t arr = __HAL_TIM_GET_AUTORELOAD(&htim3) + 1;
	uint32_t pulse = (duty * arr) / 100;

	__HAL_TIM_SET_COMPARE(&htim3, TIM_CHANNEL_3, pulse); // Motor izquierdo
}

/**
 * @brief Establece la velocidad del motor derecho (PC9 - TIM3_CH4)
 * @param duty Duty cycle (0 a 100%)
 */

void setVelocidadDerecha(int duty) {
	if (duty > 100)
		duty = 100;

	uint32_t arr = __HAL_TIM_GET_AUTORELOAD(&htim3) + 1;
	uint32_t pulse = (duty * arr) / 100;

	__HAL_TIM_SET_COMPARE(&htim3, TIM_CHANNEL_4, pulse); // Motor derecho
}

int Sensor_Linea(void) {
	return (HAL_GPIO_ReadPin(sensor_linea_GPIO_Port, sensor_linea_Pin)
			== GPIO_PIN_SET) ? 1 : 0;
}

bool antirebote(void) {
	int es_linea = 0;

	HAL_Delay(5); //5ms de delay
	if (Sensor_Linea() == 1)
		return false;
	HAL_Delay(5); //5ms de delay
	if (Sensor_Linea() == 1)
		return false;
	HAL_Delay(5); //5ms de delay
	if (Sensor_Linea() == 1)
		return false;
	es_linea = 1;

	while (es_linea == 1) {
		while (Sensor_Linea() == 0)
			Avanzar();

		if (Sensor_Linea() == 1)
			HAL_Delay(5); //5ms de delay
		if (Sensor_Linea() == 1)
			return true;
	}
	return false; //no deberia pasar nunca, en caso de falla
}

void Centrado(void) {

	if ((sensor_der_avg < UMBRAL_DERECHO)
			&& (sensor_izq_avg > UMBRAL_IZQUIERDO)) {
		EncenderLed(1);
		ApagarLed(2);
		HAL_GPIO_WritePin(GPIOB, GPIO_PIN_11, GPIO_PIN_RESET); // MI0
		HAL_GPIO_WritePin(GPIOB, GPIO_PIN_12, GPIO_PIN_RESET);   // MI1
		HAL_GPIO_WritePin(GPIOB, GPIO_PIN_13, GPIO_PIN_SET);   // MD0
		HAL_GPIO_WritePin(GPIOB, GPIO_PIN_14, GPIO_PIN_RESET); // MD1
	} else if ((sensor_der_avg > UMBRAL_DERECHO)
			&& (sensor_izq_avg < UMBRAL_IZQUIERDO)) {
		EncenderLed(2);
		ApagarLed(1);
		HAL_GPIO_WritePin(GPIOB, GPIO_PIN_11, GPIO_PIN_SET); // MI0
		HAL_GPIO_WritePin(GPIOB, GPIO_PIN_12, GPIO_PIN_RESET);   // MI1
		HAL_GPIO_WritePin(GPIOB, GPIO_PIN_13, GPIO_PIN_RESET);   // MD0
		HAL_GPIO_WritePin(GPIOB, GPIO_PIN_14, GPIO_PIN_RESET); // MD1

	} else {
		ApagarLed(2);
		ApagarLed(1);
		HAL_GPIO_WritePin(GPIOB, GPIO_PIN_11, GPIO_PIN_SET); // MI0
		HAL_GPIO_WritePin(GPIOB, GPIO_PIN_12, GPIO_PIN_RESET);   // MI1
		HAL_GPIO_WritePin(GPIOB, GPIO_PIN_13, GPIO_PIN_SET);   // MD0
		HAL_GPIO_WritePin(GPIOB, GPIO_PIN_14, GPIO_PIN_RESET); // MD1
	}
}

void Bailar(void){

	for (int x = 0; x < 4; x++) {
	Avanzar();
	HAL_Delay(200);
	Retroceder();
	HAL_Delay(150);
	}
	for (int x = 0; x < 4; x++) {
	GirarIzq();
	HAL_Delay(200);
	GirarDer();
	HAL_Delay(150);
	}
}

void Avanzar(void) {

	HAL_GPIO_WritePin(GPIOB, GPIO_PIN_11, GPIO_PIN_SET); // MI0
	HAL_GPIO_WritePin(GPIOB, GPIO_PIN_12, GPIO_PIN_RESET);   // MI1
	HAL_GPIO_WritePin(GPIOB, GPIO_PIN_13, GPIO_PIN_SET);   // MD0
	HAL_GPIO_WritePin(GPIOB, GPIO_PIN_14, GPIO_PIN_RESET); // MD1
}

void Frenar(void) {

	HAL_GPIO_WritePin(GPIOB, GPIO_PIN_11, GPIO_PIN_RESET); // MI0
	HAL_GPIO_WritePin(GPIOB, GPIO_PIN_12, GPIO_PIN_RESET);   // MI1
	HAL_GPIO_WritePin(GPIOB, GPIO_PIN_13, GPIO_PIN_RESET);   // MD0
	HAL_GPIO_WritePin(GPIOB, GPIO_PIN_14, GPIO_PIN_RESET); // MD1
}

void Retroceder(void) {

	HAL_GPIO_WritePin(GPIOB, GPIO_PIN_11, GPIO_PIN_RESET); // MI0
	HAL_GPIO_WritePin(GPIOB, GPIO_PIN_12, GPIO_PIN_SET);   // MI1
	HAL_GPIO_WritePin(GPIOB, GPIO_PIN_13, GPIO_PIN_RESET);   // MD0
	HAL_GPIO_WritePin(GPIOB, GPIO_PIN_14, GPIO_PIN_SET); // MD1
}

void GirarIzq(void) {

	HAL_GPIO_WritePin(GPIOB, GPIO_PIN_11, GPIO_PIN_RESET); // MI0
	HAL_GPIO_WritePin(GPIOB, GPIO_PIN_12, GPIO_PIN_SET);   // MI1
	HAL_GPIO_WritePin(GPIOB, GPIO_PIN_13, GPIO_PIN_SET);   // MD0
	HAL_GPIO_WritePin(GPIOB, GPIO_PIN_14, GPIO_PIN_RESET); // MD1
}

void GirarDer(void) {

	HAL_GPIO_WritePin(GPIOB, GPIO_PIN_11, GPIO_PIN_SET);   // MI0
	HAL_GPIO_WritePin(GPIOB, GPIO_PIN_12, GPIO_PIN_RESET); // MI1
	HAL_GPIO_WritePin(GPIOB, GPIO_PIN_13, GPIO_PIN_RESET); // MD0
	HAL_GPIO_WritePin(GPIOB, GPIO_PIN_14, GPIO_PIN_SET);   // MD1
}

uint16_t Girar(dir_giro giro) {
	uint16_t duracion_ms = 525;

	if ((giro) == (dir_giro) (izq)) {
		// Girar a la izquierda
		HAL_GPIO_WritePin(GPIOB, GPIO_PIN_11, GPIO_PIN_RESET); // MI0
		HAL_GPIO_WritePin(GPIOB, GPIO_PIN_12, GPIO_PIN_SET);   // MI1
		HAL_GPIO_WritePin(GPIOB, GPIO_PIN_13, GPIO_PIN_SET);   // MD0
		HAL_GPIO_WritePin(GPIOB, GPIO_PIN_14, GPIO_PIN_RESET); // MD1

		//duracion_ms = 700;

	} else if ((giro) == (dir_giro) (der)) {
		// Girar a la derecha
		HAL_GPIO_WritePin(GPIOB, GPIO_PIN_11, GPIO_PIN_SET);   // MI0
		HAL_GPIO_WritePin(GPIOB, GPIO_PIN_12, GPIO_PIN_RESET); // MI1
		HAL_GPIO_WritePin(GPIOB, GPIO_PIN_13, GPIO_PIN_RESET); // MD0
		HAL_GPIO_WritePin(GPIOB, GPIO_PIN_14, GPIO_PIN_SET);   // MD1

		//duracion_ms = 700;

	} else if ((giro) == (dir_giro) (atras)) {
		// Girar 180°
		HAL_GPIO_WritePin(GPIOB, GPIO_PIN_11, GPIO_PIN_RESET); // MI0
		HAL_GPIO_WritePin(GPIOB, GPIO_PIN_12, GPIO_PIN_SET);   // MI1
		HAL_GPIO_WritePin(GPIOB, GPIO_PIN_13, GPIO_PIN_SET);   // MD0
		HAL_GPIO_WritePin(GPIOB, GPIO_PIN_14, GPIO_PIN_RESET); // MD1
		//duracion_ms = 800;

	} else {
		return 1; // Comando inválido
	}

	HAL_Delay(duracion_ms); // Espera el tiempo necesario

	// Desactiva todos los pines (frena)
	HAL_GPIO_WritePin(GPIOB, GPIO_PIN_11, GPIO_PIN_RESET); // MI0
	HAL_GPIO_WritePin(GPIOB, GPIO_PIN_12, GPIO_PIN_RESET); // MI1
	HAL_GPIO_WritePin(GPIOB, GPIO_PIN_13, GPIO_PIN_RESET); // MD0
	HAL_GPIO_WritePin(GPIOB, GPIO_PIN_14, GPIO_PIN_RESET); // MD1

	return 0; // Éxito
}

void calcular_orientacion(dir_giro girohecho) {

	if (girohecho == izq)
		orientacion = (orientacion + 3) % 4;
	else if (girohecho == der)
		orientacion = (orientacion + 1) % 4;
	else if (girohecho == atras) {
		orientacion = (orientacion + 2) % 4;

	}
}

void posicion(void) { //norte=0, este=1, sur=2, oeste=

	if (orientacion == 0 && pos > 3)
		pos = (pos - 4);
	else if (orientacion == 1 && (pos % 4 != 3))
		pos = (pos + 1);
	else if (orientacion == 2 && pos < 12)
		pos = (pos + 4);
	else if (orientacion == 3 && (pos % 4 != 0))
		pos = (pos - 1);
//	sprintf(mensaje, "%d", pos); //Convierte la variable numérica contador en un string
//	Transmision(); //Ejecuta la función de transmisión    //volado
}

void detectorParedes(celda *mapa) {

	mapa[pos].pared[orientacion] = true;

	if (orientacion == 0 && pos > 3)
		mapa[pos - 4].pared[orientacion + 2] = true;

	if (orientacion == 2 && pos < 12)
		mapa[pos + 4].pared[orientacion - 2] = true;

	if (orientacion == 3 && (pos % 4 != 0))
		mapa[pos - 1].pared[orientacion - 2] = true;

	if (orientacion == 1 && (pos % 4 != 3))
		mapa[pos + 1].pared[orientacion + 2] = true;
}

void InicializarMapa(celda *mapa) {

	for (int x = 0; x < 16; x++) {

		mapa[x].peso = 15;
		for (int d = 0; d < 4; d++) {
			mapa[x].pared[d] = false;

			if (x < 4)                          // estoy en borde superior
				mapa[x].pared[0] = true;
			if (x > 11)                         // estoy en borde inferior
				mapa[x].pared[2] = true;
			if (x % 4 == 3)                  // estoy en borde derecho
				mapa[x].pared[1] = true;
			if (x % 4 == 0)                  // estoy en borde izquierdo
				mapa[x].pared[3] = true;
		}

	}
	mapa[0].peso = 0;
}

void ActualizarPesos(celda *mapa) {
	int peso_min_vecino = INF;
	int offset[4] = { -4, 1, +4, -1 }; // norte=0 offset con el vecino -4, este=0 offset con el vecino +1

	for (int i = 1; i < 16; i++) {           //elijo casilla
		for (int j = 0; j < 4; j++) {          //elijo dir
			if (!mapa[i].pared[j] && peso_min_vecino > mapa[i + offset[j]].peso) { // si no hay pared en esa dir y peso en esa dir es menor que el minimo actual de los vecinos
				peso_min_vecino = mapa[i + offset[j]].peso;
			}

		}
		mapa[i].peso = peso_min_vecino + 1;
		peso_min_vecino = INF;
	}
}

void ActualizarPesos10(celda *mapa) {
	int i = 0;
	while (i < 6) {
		ActualizarPesos(mapa);
		i++;
	}
}

dir_giro PrioridadDeGiro(int dir_min1) {
	dir_giro aux;//inicializo auxiliar
	if (orientacion == 0 && dir_min == 3)
		aux = izq;
	else if (orientacion == 3 && dir_min == 0)
		aux = der;
	else if (orientacion < dir_min)
		aux = der;
	else if (orientacion > dir_min)
		aux = izq;
	return aux;
}

void Calibrar_Sensores(void){
	                                      //caca

while (HAL_GPIO_ReadPin(GPIOA, GPIO_PIN_0) == GPIO_PIN_RESET) {
	EncenderLed(2);
HAL_Delay(100);
ApagarLed(2);
HAL_Delay(100);
}

UMBRAL_DERECHO=sensor_der_avg;
HAL_Delay(3000);

while (HAL_GPIO_ReadPin(GPIOA, GPIO_PIN_0) == GPIO_PIN_RESET) {
	EncenderLed(2);
HAL_Delay(100);
ApagarLed(2);
HAL_Delay(100);
}

UMBRAL_IZQUIERDO=sensor_izq_avg;

HAL_Delay(2000);
}

int DirMin(celda *mapa) {
	int minimo = 0;   //orientacion final
	int pesos[4];   //orden intermedio antes de fijar muros
	int i;   //variable auxiliar

	////sujeto a variar con eleccion
	pesos[0] = mapa[pos - 4].peso;   //inicializo variable peso norte
	pesos[1] = mapa[pos + 1].peso;   //inicializo variable peso este
	pesos[2] = mapa[pos + 4].peso;   //inicializo variable peso sur
	pesos[3] = mapa[pos - 1].peso;   //inicializo variable peso oeste
	for (i = 0; i <= 3; i++)   //miro paredes
		if (mapa[pos].pared[i])
			pesos[i] = 15;
	//////////////////
	int pesominimo = pesos[0];
	for (i = 0; i < 3; i++) //para buscar el peso minimo (se puede invertir la prioridad de NESO a OSEN con cambiar de > a >=)
		if (pesominimo > pesos[i + 1])
			minimo = i + 1;

	return minimo;
}

// rutina de atencion de interrupciones

void HAL_GPIO_EXTI_Callback(uint16_t GPIO_Pin) {
	ENTRE_INT=1;

 if (GPIO_Pin == GPIO_PIN_7) {

		linea = 1;

}
}

// Rutina de antención a la interrupción de buffer a mitad
void HAL_ADC_ConvHalfCpltCallback(ADC_HandleTypeDef *hadc) {
// Promediamos la primera mitad del buffer (el primer bloque de tamaño mínimo)
	if (hadc->Instance == ADC1) {
		Promediar1(&dma_buffer1[0]);
	} else if (hadc->Instance == ADC2) {
		Promediar2(&dma_buffer2[0]);
	}
}
// Rutina de antención a la interrupción de buffer a tope
void HAL_ADC_ConvCpltCallback(ADC_HandleTypeDef *hadc) {
// Promediamos la segunda mitad del buffer (el segundo bloque de tamaño mínimo)
	if (hadc->Instance == ADC1) {
		Promediar1(&dma_buffer1[BUFFER_MINIMO]);
	} else if (hadc->Instance == ADC2) {
		Promediar2(&dma_buffer2[BUFFER_MINIMO]);
	}
}

// Calcula los promedios de ADC1
void Promediar1(uint16_t *buffer) {
// Inicializamos variables para acumular la suma de las muestras
	uint32_t sum = 0;
// Ralizamos la suma incrementando el puntero a las muestras
	for (int i = 0; i < MUESTRAS; ++i) {
		sum += buffer[0];
		buffer += 1;
	}
// Dividimos las sumas para obtener el promedio
#if SEL_AUTITO == 1
	sensor_der_avg = sum / MUESTRAS;
#else
		sensor_izq_avg = sum / MUESTRAS;
	#endif
}

// Calcula los promedios de ADC2
void Promediar2(uint16_t *buffer) {
// Inicializamos variables para acumular la suma de las muestras
	uint32_t sum = 0;
// Ralizamos la suma incrementando el puntero a las muestras
	for (int i = 0; i < MUESTRAS; ++i) {
		sum += buffer[0];
		buffer += 1;
	}
// Dividimos las sumas para obtener el promedio

#if SEL_AUTITO == 0
	sensor_izq_avg = sum / MUESTRAS;
#else
		sensor_der_avg = sum / MUESTRAS;
	#endif
}

void EncenderTodos(void) {
	HAL_GPIO_WritePin(LED_ROJO_GPIO_Port, LED_ROJO_Pin, GPIO_PIN_SET);
	HAL_GPIO_WritePin(LED_VERDE_GPIO_Port, LED_VERDE_Pin, GPIO_PIN_SET);
	HAL_GPIO_WritePin(LED_AZUL_GPIO_Port, LED_AZUL_Pin, GPIO_PIN_SET);
}

void ApagarTodos(void) {
	HAL_GPIO_WritePin(LED_ROJO_GPIO_Port, LED_ROJO_Pin, GPIO_PIN_RESET);
	HAL_GPIO_WritePin(LED_VERDE_GPIO_Port, LED_VERDE_Pin, GPIO_PIN_RESET);
	HAL_GPIO_WritePin(LED_AZUL_GPIO_Port, LED_AZUL_Pin, GPIO_PIN_RESET);
}

void EncenderLed(int numero) {
	switch (numero) {
	case 1:
		HAL_GPIO_WritePin(LED_ROJO_GPIO_Port, LED_ROJO_Pin, GPIO_PIN_SET);
		break;
	case 2:
		HAL_GPIO_WritePin(LED_VERDE_GPIO_Port, LED_VERDE_Pin, GPIO_PIN_SET);
		break;
	case 3:
		HAL_GPIO_WritePin(LED_AZUL_GPIO_Port, LED_AZUL_Pin, GPIO_PIN_SET);
		break;
	default:
		// Número inválido
		break;
	}
}

void ApagarLed(int numero) {
	switch (numero) {
	case 1:
		HAL_GPIO_WritePin(LED_ROJO_GPIO_Port, LED_ROJO_Pin, GPIO_PIN_RESET);
		break;
	case 2:
		HAL_GPIO_WritePin(LED_VERDE_GPIO_Port, LED_VERDE_Pin, GPIO_PIN_RESET);
		break;
	case 3:
		HAL_GPIO_WritePin(LED_AZUL_GPIO_Port, LED_AZUL_Pin, GPIO_PIN_RESET);
		break;
	default:
		// Número inválido
		break;
	}
}
/* USER CODE END 4 */

void Error_Handler(void)
{
	__disable_irq();
	while (1) {
	}
}
